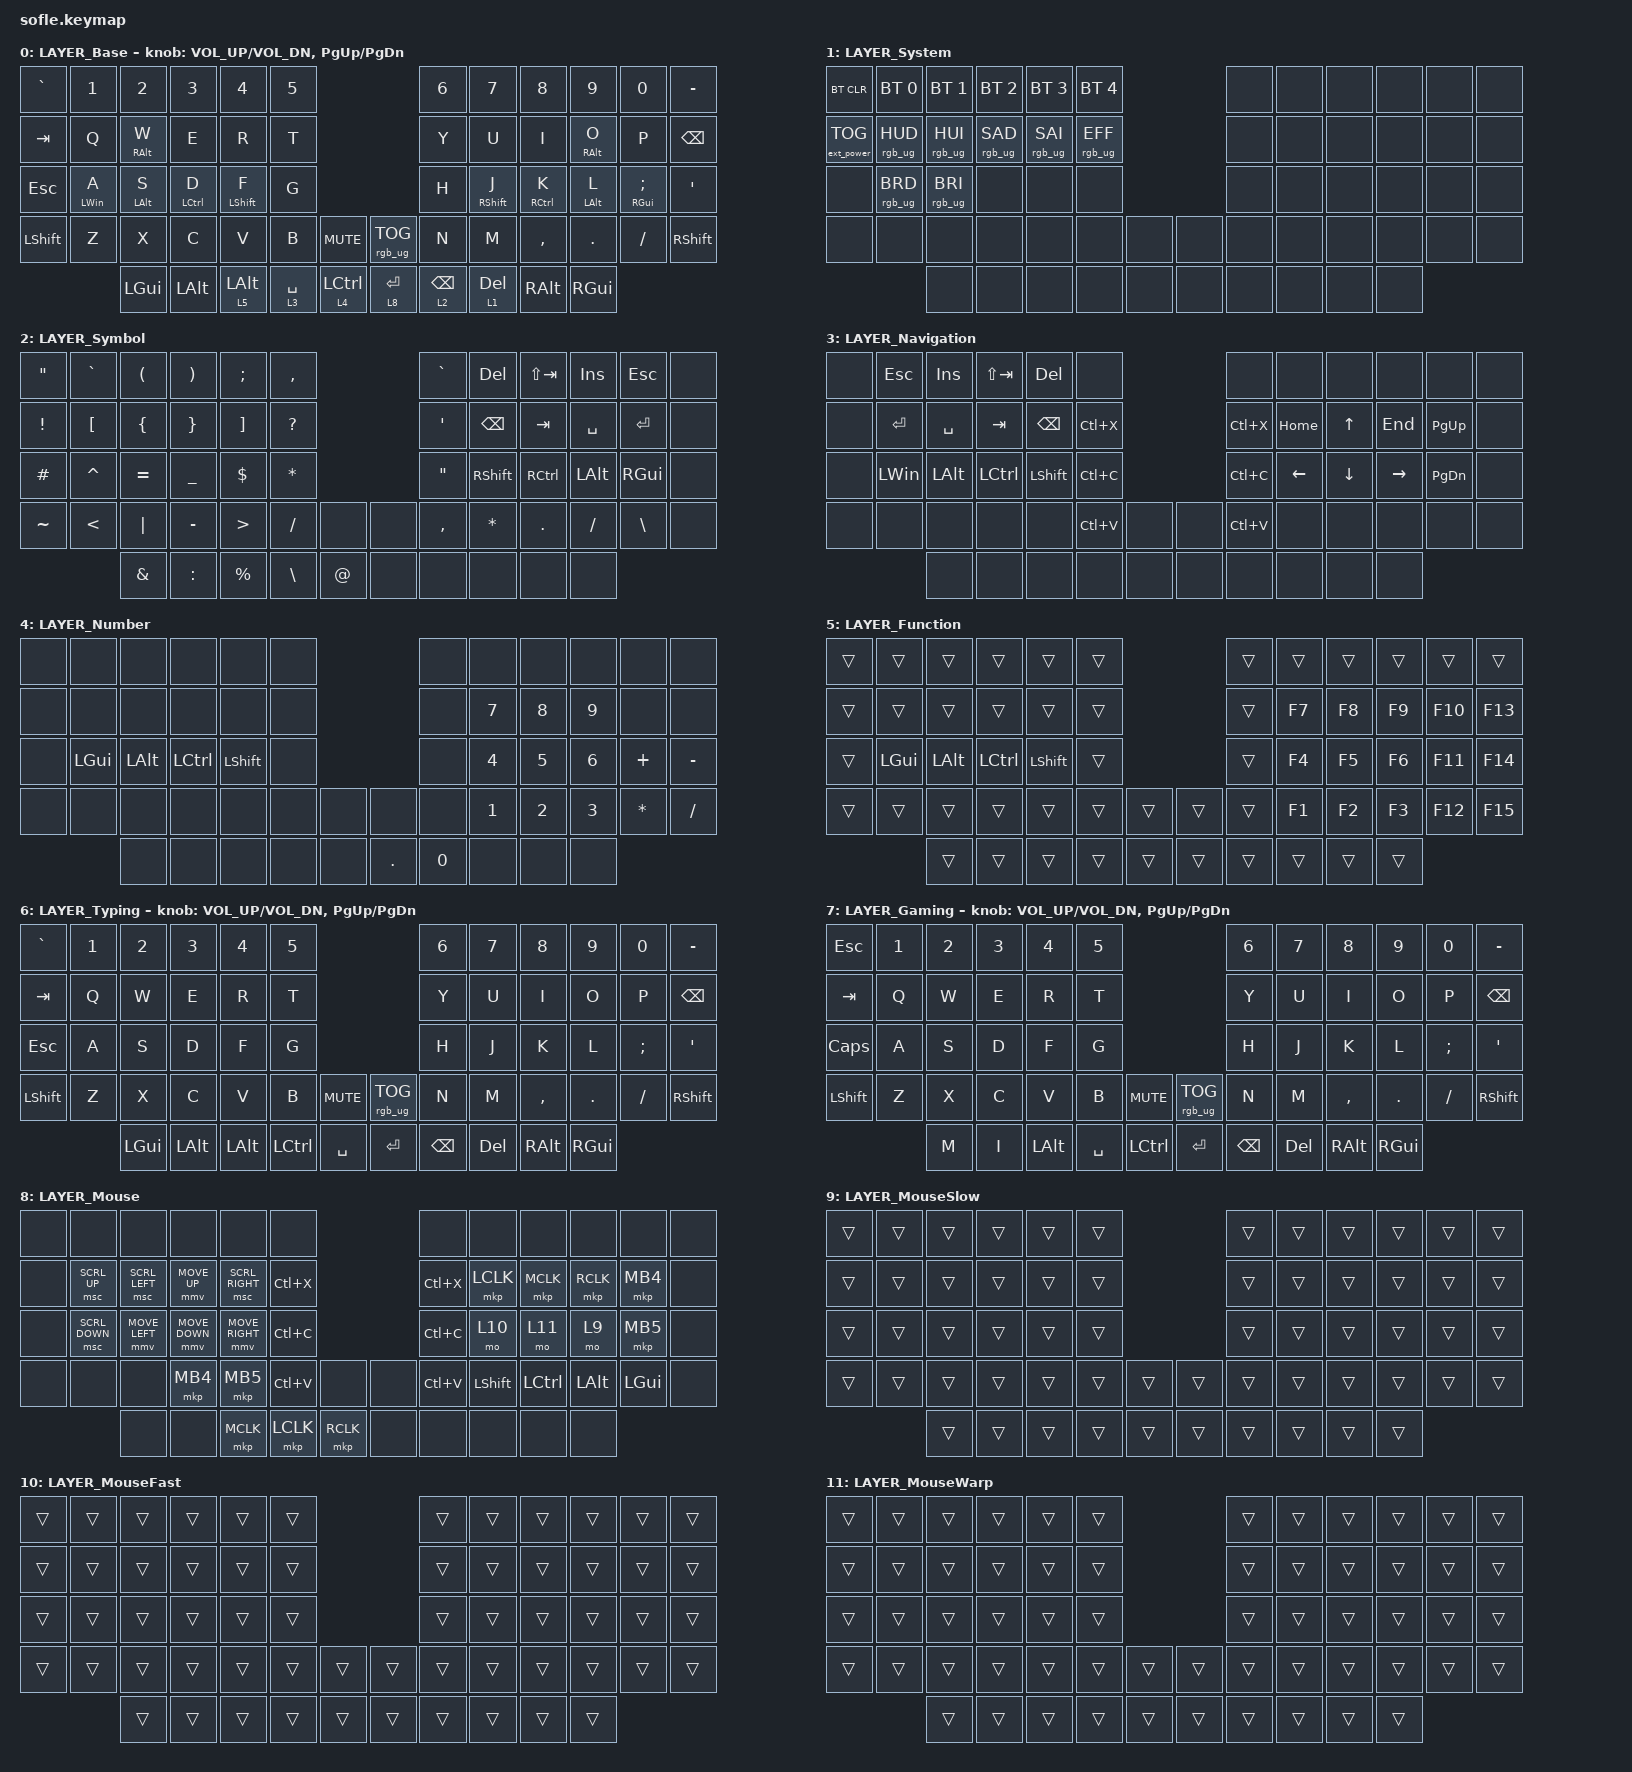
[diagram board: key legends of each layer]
/*
 * Copyright (c) 2020 The ZMK Contributors
 *
 * SPDX-License-Identifier: MIT
 */
// needed for mouse
// needed for zip-scroll-scaler change 

#include <behaviors.dtsi>
#include <dt-bindings/zmk/bt.h>
#include <dt-bindings/zmk/ext_power.h>
#include <dt-bindings/zmk/keys.h>
#include <dt-bindings/zmk/pointing.h>
#include <dt-bindings/zmk/rgb.h>

#define LAYER_Base 0
#define LAYER_System 1
#define LAYER_Symbol 2
#define LAYER_Navigation 3
#define LAYER_Number 4
#define LAYER_Function 5
#define LAYER_Typing 6
#define LAYER_Gaming 7
#define LAYER_Mouse 8
#define LAYER_MouseSlow 9
#define LAYER_MouseFast 10
#define LAYER_MouseWarp 11

/ {
    combos {
        compatible = "zmk,combos";

        gaming_toggle {
            bindings = <&tog 7>;
            key-positions = <51 58>;
        };

        caps_word {
            bindings = <&caps_word>;
            key-positions = <28 31>;
        };

        caps_lock {
            bindings = <&kp CAPSLOCK>;
            key-positions = <16 19>;
        };
    };

    behaviors {
        hml: home_row_mod_left {
            compatible = "zmk,behavior-hold-tap";
            #binding-cells = <2>;
            flavor = "balanced";
            require-prior-idle-ms = <150>;
            tapping-term-ms = <280>;
            quick-tap-ms = <175>;
            bindings = <&kp>, <&kp>;

            hold-trigger-key-positions = <0 1 2 3 4 5 12 13 14 15 16 17 24 25 26 27 28 29 36 37 38 39 40 41>;
            hold-trigger-on-release;
        };

        hmr: home_row_mod_right {
            compatible = "zmk,behavior-hold-tap";
            #binding-cells = <2>;
            flavor = "balanced";
            require-prior-idle-ms = <150>;
            tapping-term-ms = <280>;
            quick-tap-ms = <175>;
            bindings = <&kp>, <&kp>;

            hold-trigger-key-positions = <6 7 8 9 10 11 18 19 20 21 22 23 30 31 32 33 34 35 44 45 46 47 48 49>;
            hold-trigger-on-release;
        };

        thumb: thumb_layer_access {
            compatible = "zmk,behavior-hold-tap";
            bindings = <&mo>, <&kp>;

            #binding-cells = <2>;
            flavor = "balanced";
            tapping-term-ms = <200>;
            quick-tap-ms = <300>;
        };
    };
};

#include "mouse.dtsi"

/ {
    keymap {
        compatible = "zmk,keymap";

        LAYER_Base {
            bindings = <
&kp GRAVE  &kp N1           &kp N2           &kp N3        &kp N4             &kp N5                                             &kp N6              &kp N7              &kp N8        &kp N9           &kp N0          &kp MINUS
&kp TAB    &kp Q            &hml RALT W      &kp E         &kp R              &kp T                                              &kp Y               &kp U               &kp I         &hmr RALT O      &kp P           &kp BSPC
&kp ESC    &hml LEFT_WIN A  &hml LEFT_ALT S  &hml LCTRL D  &hml LEFT_SHIFT F  &kp G                                              &kp H               &hmr RIGHT_SHIFT J  &hmr RCTRL K  &hmr LEFT_ALT L  &hmr RGUI SEMI  &kp SQT
&kp LSHFT  &kp Z            &kp X            &kp C         &kp V              &kp B           &kp C_MUTE        &rgb_ug RGB_TOG  &kp N               &kp M               &kp COMMA     &kp DOT          &kp FSLH        &kp RSHFT
                            &kp LGUI         &kp LALT      &thumb 5 LALT      &thumb 3 SPACE  &thumb 4 LCTRL    &thumb 8 ENTER   &thumb 2 BACKSPACE  &thumb 1 DELETE     &kp RALT      &kp RGUI
            >;

            sensor-bindings = <&inc_dec_kp C_VOL_UP C_VOL_DN &inc_dec_kp PG_UP PG_DN>;
        };

        LAYER_System {
            bindings = <
&bt BT_CLR         &bt BT_SEL 0     &bt BT_SEL 1     &bt BT_SEL 2     &bt BT_SEL 3     &bt BT_SEL 4                     &none  &none  &none  &none  &none  &none
&ext_power EP_TOG  &rgb_ug RGB_HUD  &rgb_ug RGB_HUI  &rgb_ug RGB_SAD  &rgb_ug RGB_SAI  &rgb_ug RGB_EFF                  &none  &none  &none  &none  &none  &none
&none              &rgb_ug RGB_BRD  &rgb_ug RGB_BRI  &none            &none            &none                            &none  &none  &none  &none  &none  &none
&none              &none            &none            &none            &none            &none            &none    &none  &none  &none  &none  &none  &none  &none
                                    &none            &none            &none            &none            &none    &none  &none  &none  &none  &none
            >;
        };

        LAYER_Symbol {
            bindings = <
&kp DOUBLE_QUOTES  &kp GRAVE      &kp LEFT_PARENTHESIS  &kp RIGHT_PARENTHESIS  &kp SEMI          &kp COMMA                      &kp GRAVE          &kp DEL       &kp LS(TAB)  &kp INS    &kp ESC   &none
&kp EXCL           &kp LBKT       &kp LEFT_BRACE        &kp RIGHT_BRACE        &kp RBKT          &kp QUESTION                   &kp SQT            &kp BSPC      &kp TAB      &kp SPACE  &kp RET   &none
&kp POUND          &kp CARET      &kp EQUAL             &kp UNDERSCORE         &kp DOLLAR        &kp ASTRK                      &kp DOUBLE_QUOTES  &kp RSHFT     &kp RCTRL    &kp LALT   &kp RGUI  &none
&kp TILDE          &kp LESS_THAN  &kp PIPE              &kp MINUS              &kp GREATER_THAN  &kp SLASH     &none     &none  &kp COMMA          &kp ASTERISK  &kp DOT      &kp FSLH   &kp BSLH  &none
                                  &kp AMPS              &kp COLON              &kp PERCENT       &kp BSLH      &kp AT    &none  &none              &none         &none        &none
            >;
        };

        LAYER_Navigation {
            bindings = <
&none  &kp ESCAPE    &kp INSERT    &kp LS(TAB)  &kp DELETE      &none                      &none      &none     &none     &none      &none      &none
&none  &kp ENTER     &kp SPACE     &kp TAB      &kp BACKSPACE   &kp LC(X)                  &kp LC(X)  &kp HOME  &kp UP    &kp END    &kp PG_UP  &none
&none  &kp LEFT_WIN  &kp LEFT_ALT  &kp LCTRL    &kp LEFT_SHIFT  &kp LC(C)                  &kp LC(C)  &kp LEFT  &kp DOWN  &kp RIGHT  &kp PG_DN  &none
&none  &none         &none         &none        &none           &kp LC(V)  &none    &none  &kp LC(V)  &none     &none     &none      &none      &none
                     &none         &none        &none           &none      &none    &none  &none      &none     &none     &none
            >;
        };

        LAYER_Number {
            bindings = <
&none  &none     &none     &none      &none      &none                    &none   &none   &none   &none   &none         &none
&none  &none     &none     &none      &none      &none                    &none   &kp N7  &kp N8  &kp N9  &none         &none
&none  &kp LGUI  &kp LALT  &kp LCTRL  &kp LSHFT  &none                    &none   &kp N4  &kp N5  &kp N6  &kp PLUS      &kp MINUS
&none  &none     &none     &none      &none      &none  &none    &none    &none   &kp N1  &kp N2  &kp N3  &kp ASTERISK  &kp SLASH
                 &none     &none      &none      &none  &none    &kp DOT  &kp N0  &none   &none   &none
            >;
        };

        LAYER_Function {
            bindings = <
&trans  &trans    &trans    &trans     &trans     &trans                    &trans  &trans  &trans  &trans  &trans   &trans
&trans  &trans    &trans    &trans     &trans     &trans                    &trans  &kp F7  &kp F8  &kp F9  &kp F10  &kp F13
&trans  &kp LGUI  &kp LALT  &kp LCTRL  &kp LSHFT  &trans                    &trans  &kp F4  &kp F5  &kp F6  &kp F11  &kp F14
&trans  &trans    &trans    &trans     &trans     &trans  &trans    &trans  &trans  &kp F1  &kp F2  &kp F3  &kp F12  &kp F15
                  &trans    &trans     &trans     &trans  &trans    &trans  &trans  &trans  &trans  &trans
            >;
        };

        LAYER_Typing {
            bindings = <
&kp GRAVE  &kp N1  &kp N2    &kp N3    &kp N4    &kp N5                                    &kp N6         &kp N7      &kp N8     &kp N9    &kp N0    &kp MINUS
&kp TAB    &kp Q   &kp W     &kp E     &kp R     &kp T                                     &kp Y          &kp U       &kp I      &kp O     &kp P     &kp BSPC
&kp ESC    &kp A   &kp S     &kp D     &kp F     &kp G                                     &kp H          &kp J       &kp K      &kp L     &kp SEMI  &kp SQT
&kp LSHFT  &kp Z   &kp X     &kp C     &kp V     &kp B      &kp C_MUTE    &rgb_ug RGB_TOG  &kp N          &kp M       &kp COMMA  &kp DOT   &kp FSLH  &kp RSHFT
                   &kp LGUI  &kp LALT  &kp LALT  &kp LCTRL  &kp SPACE     &kp ENTER        &kp BACKSPACE  &kp DELETE  &kp RALT   &kp RGUI
            >;

            sensor-bindings =
                <&inc_dec_kp C_VOL_UP C_VOL_DN>,
                <&inc_dec_kp PG_UP PG_DN>;
        };

        LAYER_Gaming {
            bindings = <
&kp ESCAPE  &kp N1  &kp N2  &kp N3  &kp N4    &kp N5                                    &kp N6         &kp N7   &kp N8     &kp N9    &kp N0    &kp MINUS
&kp TAB     &kp Q   &kp W   &kp E   &kp R     &kp T                                     &kp Y          &kp U    &kp I      &kp O     &kp P     &kp BSPC
&kp CAPS    &kp A   &kp S   &kp D   &kp F     &kp G                                     &kp H          &kp J    &kp K      &kp L     &kp SEMI  &kp SQT
&kp LSHFT   &kp Z   &kp X   &kp C   &kp V     &kp B      &kp C_MUTE    &rgb_ug RGB_TOG  &kp N          &kp M    &kp COMMA  &kp DOT   &kp FSLH  &kp RSHFT
                    &kp M   &kp I   &kp LALT  &kp SPACE  &kp LCTRL     &kp ENTER        &kp BACKSPACE  &kp DEL  &kp RALT   &kp RGUI
            >;

            sensor-bindings =
                <&inc_dec_kp C_VOL_UP C_VOL_DN>,
                <&inc_dec_kp PG_UP PG_DN>;
        };

        LAYER_Mouse {
            bindings = <
&none  &none           &none           &none           &none            &none                          &none      &none       &none      &none      &none     &none
&none  &msc SCRL_UP    &msc SCRL_LEFT  &mmv MOVE_UP    &msc SCRL_RIGHT  &kp LC(X)                      &kp LC(X)  &mkp LCLK   &mkp MCLK  &mkp RCLK  &mkp MB4  &none
&none  &msc SCRL_DOWN  &mmv MOVE_LEFT  &mmv MOVE_DOWN  &mmv MOVE_RIGHT  &kp LC(C)                      &kp LC(C)  &mo 10      &mo 11     &mo 9      &mkp MB5  &none
&none  &none           &none           &mkp MB4        &mkp MB5         &kp LC(V)  &none        &none  &kp LC(V)  &kp LSHIFT  &kp LCTRL  &kp LALT   &kp LGUI  &none
                       &none           &none           &mkp MCLK        &mkp LCLK  &mkp RCLK    &none  &none      &none       &none      &none
            >;
        };

        LAYER_MouseSlow {
            bindings = <
&trans  &trans  &trans  &trans  &trans  &trans                    &trans  &trans  &trans  &trans  &trans  &trans
&trans  &trans  &trans  &trans  &trans  &trans                    &trans  &trans  &trans  &trans  &trans  &trans
&trans  &trans  &trans  &trans  &trans  &trans                    &trans  &trans  &trans  &trans  &trans  &trans
&trans  &trans  &trans  &trans  &trans  &trans  &trans    &trans  &trans  &trans  &trans  &trans  &trans  &trans
                &trans  &trans  &trans  &trans  &trans    &trans  &trans  &trans  &trans  &trans
            >;
        };

        LAYER_MouseFast {
            bindings = <
&trans  &trans  &trans  &trans  &trans  &trans                    &trans  &trans  &trans  &trans  &trans  &trans
&trans  &trans  &trans  &trans  &trans  &trans                    &trans  &trans  &trans  &trans  &trans  &trans
&trans  &trans  &trans  &trans  &trans  &trans                    &trans  &trans  &trans  &trans  &trans  &trans
&trans  &trans  &trans  &trans  &trans  &trans  &trans    &trans  &trans  &trans  &trans  &trans  &trans  &trans
                &trans  &trans  &trans  &trans  &trans    &trans  &trans  &trans  &trans  &trans
            >;
        };

        LAYER_MouseWarp {
            bindings = <
&trans  &trans  &trans  &trans  &trans  &trans                    &trans  &trans  &trans  &trans  &trans  &trans
&trans  &trans  &trans  &trans  &trans  &trans                    &trans  &trans  &trans  &trans  &trans  &trans
&trans  &trans  &trans  &trans  &trans  &trans                    &trans  &trans  &trans  &trans  &trans  &trans
&trans  &trans  &trans  &trans  &trans  &trans  &trans    &trans  &trans  &trans  &trans  &trans  &trans  &trans
                &trans  &trans  &trans  &trans  &trans    &trans  &trans  &trans  &trans  &trans
            >;
        };
    };
};
